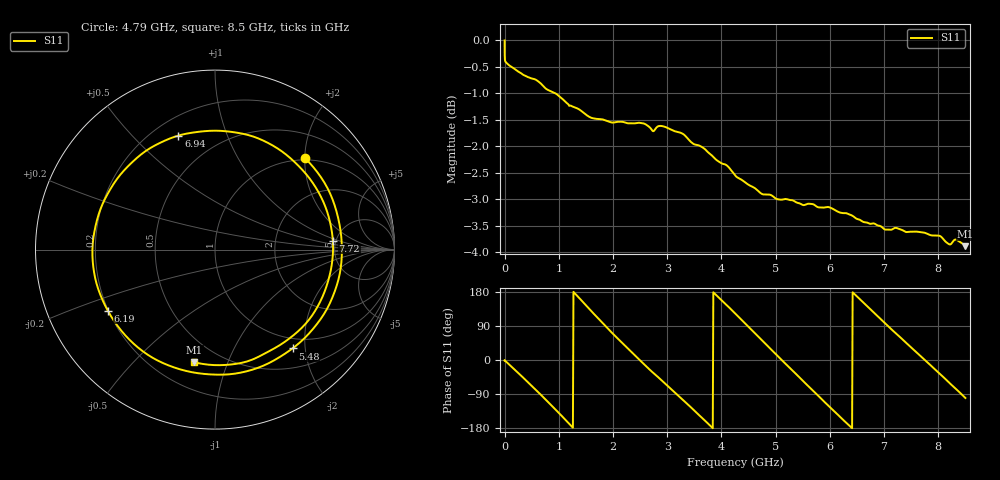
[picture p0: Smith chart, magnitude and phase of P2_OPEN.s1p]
! LibreCAL 5mOUNstcbC0A set FACTORY P2_OPEN
# GHz S RI R 50
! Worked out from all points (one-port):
!   1202 points, 9 kHz to 8.5 GHz, reference 50 ohm
!   lowest |S11| = -3.9 dB at 8.5 GHz (marker M1), VSWR 4.54, Z = 18.1 - j38.4 ohm
!   |S11| at or under -10 dB: nowhere
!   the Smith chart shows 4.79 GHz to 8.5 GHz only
!   S11 on the Smith chart (normalised r, x): 4.79 GHz: 0.95, +2.00; 5.48 GHz: 0.82, -1.76; 6.19 GHz: 0.20, -0.25; 6.94 GHz: 0.30, +0.69; 7.72 GHz: 4.70, +0.83; 8.5 GHz: 0.36, -0.77
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9e-06  0.9994 -0.0128
0.32  0.6741 -0.6397
0.57  0.1918 -0.8977
0.81  -0.3384 -0.8307
1.07  -0.7624 -0.439
1.36  -0.8362 0.2056
1.67  -0.3993 0.7426
1.89  0.0711 0.8358
2.13  0.532 0.6469
2.59  0.8104 -0.1945
2.92  0.4548 -0.6935
3.19  -0.0312 -0.8187
3.75  -0.7651 -0.1711
4  -0.7086 0.2886
4.26  -0.3909 0.6336
4.52  0.0656 0.7263
4.79  0.4996 0.5114
5.06  0.7016 0.0891
5.32  0.617 -0.3428
5.48  0.4319 -0.5505
5.82  -0.1126 -0.6859
6.19  -0.5976 -0.3395
6.38  -0.6822 -0.0493
6.94  -0.2036 0.6353
7.44  0.4979 0.4318
7.72  0.6565 0.05
8.15  0.3876 -0.5146
8.5  -0.1143 -0.6287
